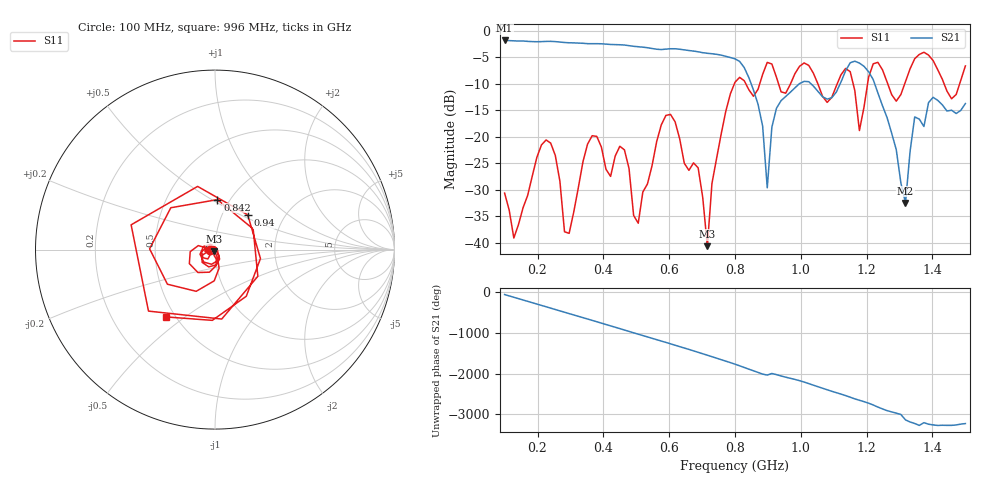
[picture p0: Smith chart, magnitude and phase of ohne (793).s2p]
! NanoVNA-App
! Date: 2025-09-25 14:26:58
! Start: 100MHz Stop: 1,5GHz Points: 101
! S-Parameter data: F S11 S21 S12 S22
# Hz S RI R 50
!  Frequency  S11_Real  S11_Imag  S21_Real  S21_Imag  S12_Real  S12_Imag  S22_Real  S22_Imag
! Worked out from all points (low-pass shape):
!   101 points, 100 MHz to 1.5 GHz, reference 50 ohm
!   highest |S21| = -1.79 dB at 100 MHz (marker M1); lowest = -32.5 dB at 1.318 GHz (marker M2)
!   |S21| within 3 dB of the highest: start of sweep to 772.1 MHz
!   lowest |S11| = -40.7 dB at 716 MHz (marker M3), VSWR 1.02, Z = 49.7 - j0.877 ohm
!   |S11| at or under -10 dB: start of sweep to 798 MHz; 833 MHz to 875.1 MHz (42.07 MHz wide, 4.93 % of centre); 1.052 GHz to 1.11 GHz (58.54 MHz wide, 5.41 % of centre) (the widest 3 of 7)
!   S12 and S22 are empty: the file has one direction only
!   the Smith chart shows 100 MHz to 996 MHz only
!   S11 on the Smith chart (normalised r, x): 100 MHz: 0.94, -0.01; 842 MHz: 0.88, +0.53; 940 MHz: 1.32, +0.55; 996 MHz: 0.45, -0.43
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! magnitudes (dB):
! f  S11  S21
! 100 MHz  -30.6  -1.8
! 128 MHz  -39.1  -1.9
! 226 MHz  -20.6  -2.0
! 296 MHz  -38.2  -2.2
! 338 MHz  -24.7  -2.3
! 464 MHz  -22.5  -2.7
! 506 MHz  -36.3  -3.0
! 576 MHz  -17.8  -3.5
! 688 MHz  -25.9  -3.9
! 716 MHz  -40.7  -4.2
! 800 MHz  -9.7  -5.3
! 842 MHz  -11.1  -8.8
! 898 MHz  -5.9  -29.6
! 940 MHz  -11.5  -13.2
! 996 MHz  -6.7  -10.0
! 1.038 GHz  -8.0  -10.4
! 1.178 GHz  -18.8  -6.1
! 1.22 GHz  -6.2  -9.2
! 1.276 GHz  -12.0  -19.3
! 1.318 GHz  -9.6  -32.5
! 1.346 GHz  -5.2  -16.2
! 1.5 GHz  -6.6  -13.7
